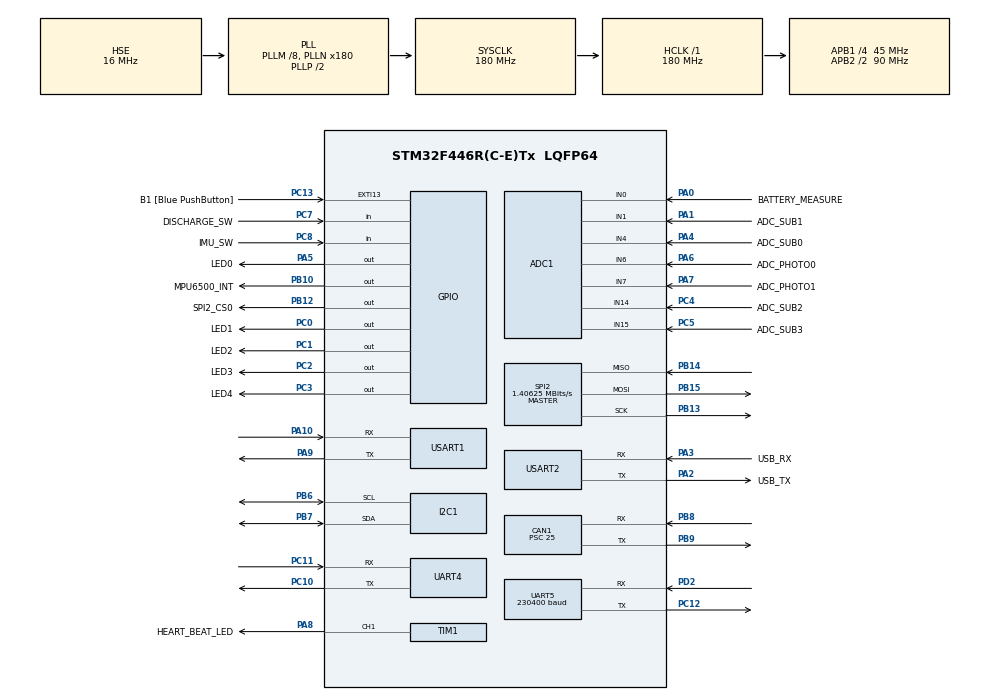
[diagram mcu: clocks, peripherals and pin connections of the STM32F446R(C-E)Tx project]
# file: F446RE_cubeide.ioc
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ADC1.Channel-0\#ChannelRegularConversion=ADC_CHANNEL_0
ADC1.NbrOfConversionFlag=1
ADC1.Rank-0\#ChannelRegularConversion=1
ADC1.SamplingTime-0\#ChannelRegularConversion=ADC_SAMPLETIME_3CYCLES
ADC1.master=1
CAN1.BS1=CAN_BS1_15TQ
CAN1.BS2=CAN_BS2_2TQ
CAN1.CalculateBaudRate=100000
CAN1.CalculateTimeBit=10000
CAN1.CalculateTimeQuantum=555.5555555555555
CAN1.Prescaler=25
CAN1.TTCM=ENABLE
CAN1.TXFP=ENABLE
Dma.Request0=USART1_RX
Dma.Request1=USART1_TX
Dma.Request2=UART5_RX
Dma.Request3=UART4_RX
Dma.Request4=UART4_TX
Dma.Request5=UART5_TX
Dma.UART4_RX.3.Direction=DMA_PERIPH_TO_MEMORY
Dma.UART4_RX.3.FIFOMode=DMA_FIFOMODE_DISABLE
Dma.UART4_RX.3.Instance=DMA1_Stream2
Dma.UART4_RX.3.MemDataAlignment=DMA_MDATAALIGN_BYTE
Dma.UART4_RX.3.MemInc=DMA_MINC_ENABLE
Dma.UART4_RX.3.Mode=DMA_CIRCULAR
Dma.UART4_RX.3.PeriphDataAlignment=DMA_PDATAALIGN_BYTE
Dma.UART4_RX.3.PeriphInc=DMA_PINC_DISABLE
Dma.UART4_RX.3.Priority=DMA_PRIORITY_LOW
Dma.UART4_TX.4.Direction=DMA_MEMORY_TO_PERIPH
Dma.UART4_TX.4.FIFOMode=DMA_FIFOMODE_DISABLE
Dma.UART4_TX.4.Instance=DMA1_Stream4
Dma.UART4_TX.4.MemDataAlignment=DMA_MDATAALIGN_BYTE
Dma.UART4_TX.4.MemInc=DMA_MINC_ENABLE
Dma.UART4_TX.4.Mode=DMA_NORMAL
Dma.UART4_TX.4.PeriphDataAlignment=DMA_PDATAALIGN_BYTE
Dma.UART4_TX.4.PeriphInc=DMA_PINC_DISABLE
Dma.UART4_TX.4.Priority=DMA_PRIORITY_LOW
Dma.UART5_RX.2.Direction=DMA_PERIPH_TO_MEMORY
Dma.UART5_RX.2.FIFOMode=DMA_FIFOMODE_DISABLE
Dma.UART5_RX.2.Instance=DMA1_Stream0
Dma.UART5_RX.2.MemDataAlignment=DMA_MDATAALIGN_BYTE
Dma.UART5_RX.2.MemInc=DMA_MINC_ENABLE
Dma.UART5_RX.2.Mode=DMA_CIRCULAR
Dma.UART5_RX.2.PeriphDataAlignment=DMA_PDATAALIGN_BYTE
Dma.UART5_RX.2.PeriphInc=DMA_PINC_DISABLE
Dma.UART5_RX.2.Priority=DMA_PRIORITY_LOW
Dma.UART5_TX.5.Direction=DMA_MEMORY_TO_PERIPH
Dma.UART5_TX.5.FIFOMode=DMA_FIFOMODE_DISABLE
Dma.UART5_TX.5.Instance=DMA1_Stream7
Dma.UART5_TX.5.MemDataAlignment=DMA_MDATAALIGN_BYTE
Dma.UART5_TX.5.MemInc=DMA_MINC_ENABLE
Dma.UART5_TX.5.Mode=DMA_NORMAL
Dma.UART5_TX.5.PeriphDataAlignment=DMA_PDATAALIGN_BYTE
Dma.UART5_TX.5.PeriphInc=DMA_PINC_DISABLE
Dma.UART5_TX.5.Priority=DMA_PRIORITY_LOW
Dma.USART1_RX.0.Direction=DMA_PERIPH_TO_MEMORY
Dma.USART1_RX.0.FIFOMode=DMA_FIFOMODE_DISABLE
Dma.USART1_RX.0.Instance=DMA2_Stream2
Dma.USART1_RX.0.MemDataAlignment=DMA_MDATAALIGN_BYTE
Dma.USART1_RX.0.MemInc=DMA_MINC_ENABLE
Dma.USART1_RX.0.Mode=DMA_CIRCULAR
Dma.USART1_RX.0.PeriphDataAlignment=DMA_PDATAALIGN_BYTE
Dma.USART1_RX.0.PeriphInc=DMA_PINC_DISABLE
Dma.USART1_RX.0.Priority=DMA_PRIORITY_LOW
Dma.USART1_TX.1.Direction=DMA_MEMORY_TO_PERIPH
Dma.USART1_TX.1.FIFOMode=DMA_FIFOMODE_DISABLE
Dma.USART1_TX.1.Instance=DMA2_Stream7
Dma.USART1_TX.1.MemDataAlignment=DMA_MDATAALIGN_BYTE
Dma.USART1_TX.1.MemInc=DMA_MINC_ENABLE
Dma.USART1_TX.1.Mode=DMA_NORMAL
Dma.USART1_TX.1.PeriphDataAlignment=DMA_PDATAALIGN_BYTE
Dma.USART1_TX.1.PeriphInc=DMA_PINC_DISABLE
Dma.USART1_TX.1.Priority=DMA_PRIORITY_LOW
I2C1.I2C_Mode=I2C_Standard
Mcu.Family=STM32F4
Mcu.Name=STM32F446R(C-E)Tx
Mcu.Package=LQFP64
NVIC.CAN1_RX0_IRQn=true\:0\:0\:true\:false\:true\:true\:true\:true
NVIC.CAN1_RX1_IRQn=true\:0\:0\:false\:false\:true\:true\:true\:true
NVIC.CAN1_TX_IRQn=true\:0\:0\:false\:false\:true\:true\:true\:true
NVIC.DMA1_Stream0_IRQn=true\:0\:0\:false\:false\:true\:false\:true\:true
NVIC.DMA1_Stream2_IRQn=true\:0\:0\:false\:false\:true\:false\:true\:true
NVIC.DMA1_Stream4_IRQn=true\:0\:0\:false\:false\:true\:false\:true\:true
NVIC.DMA1_Stream7_IRQn=true\:0\:0\:false\:false\:true\:false\:true\:true
NVIC.DMA2_Stream2_IRQn=true\:0\:0\:false\:false\:true\:false\:true\:true
NVIC.DMA2_Stream7_IRQn=true\:0\:0\:false\:false\:true\:false\:true\:true
NVIC.I2C1_ER_IRQn=true\:0\:0\:false\:false\:true\:true\:true\:true
NVIC.I2C1_EV_IRQn=true\:0\:0\:false\:false\:true\:true\:true\:true
NVIC.PriorityGroup=NVIC_PRIORITYGROUP_0
NVIC.SPI2_IRQn=true\:0\:0\:false\:false\:true\:true\:true\:true
NVIC.TIM1_UP_TIM10_IRQn=true\:0\:0\:false\:false\:true\:true\:true\:true
NVIC.TIM3_IRQn=true\:0\:0\:false\:false\:true\:true\:true\:true
NVIC.UART4_IRQn=true\:0\:0\:false\:false\:true\:true\:true\:true
NVIC.UART5_IRQn=true\:0\:0\:false\:false\:true\:true\:true\:true
NVIC.USART1_IRQn=true\:0\:0\:false\:false\:true\:true\:true\:true
NVIC.USART2_IRQn=true\:0\:0\:false\:false\:true\:true\:true\:true
PA0-WKUP.GPIO_Label=BATTERY_MEASURE
PA0-WKUP.Signal=ADCx_IN0
PA1.GPIO_Label=ADC_SUB1
PA1.Signal=ADCx_IN1
PA10.Mode=Asynchronous
PA10.Signal=USART1_RX
PA13.GPIO_Label=TMS
PA13.Mode=Serial_Wire
PA13.Signal=SYS_JTMS-SWDIO
PA14.GPIO_Label=TCK
PA14.Mode=Serial_Wire
PA14.Signal=SYS_JTCK-SWCLK
PA2.GPIO_Label=USB_TX
PA2.Mode=Asynchronous
PA2.Signal=USART2_TX
PA3.GPIO_Label=USB_RX
PA3.Mode=Asynchronous
PA3.Signal=USART2_RX
PA4.GPIO_Label=ADC_SUB0
PA4.Signal=ADCx_IN4
PA5.GPIO_Label=LED0
PA5.Signal=GPIO_Output
PA6.GPIO_Label=ADC_PHOTO0
PA6.Signal=ADCx_IN6
PA7.GPIO_Label=ADC_PHOTO1
PA7.Signal=ADCx_IN7
PA8.GPIO_Label=HEART_BEAT_LED
PA8.Signal=S_TIM1_CH1
PA9.Mode=Asynchronous
PA9.Signal=USART1_TX
PB10.GPIO_Label=MPU6500_INT
PB10.GPIO_PuPd=GPIO_PULLDOWN
PB10.Signal=GPIO_Output
PB12.GPIO_Label=SPI2_CS0
PB12.GPIO_Speed=GPIO_SPEED_FREQ_VERY_HIGH
PB12.Signal=GPIO_Output
PB13.Mode=Full_Duplex_Master
PB13.Signal=SPI2_SCK
PB14.Mode=Full_Duplex_Master
PB14.Signal=SPI2_MISO
PB15.Mode=Full_Duplex_Master
PB15.Signal=SPI2_MOSI
PB6.Mode=I2C
PB6.Signal=I2C1_SCL
PB7.Mode=I2C
PB7.Signal=I2C1_SDA
PB8.Mode=CAN_Activate
PB8.Signal=CAN1_RX
PB9.Mode=CAN_Activate
PB9.Signal=CAN1_TX
PC0.GPIO_Label=LED1
PC0.Signal=GPIO_Output
PC1.GPIO_Label=LED2
PC1.Signal=GPIO_Output
PC10.Mode=Asynchronous
PC10.Signal=UART4_TX
PC11.GPIO_PuPd=GPIO_PULLUP
PC11.Mode=Asynchronous
PC11.Signal=UART4_RX
PC12.Mode=Asynchronous
PC12.Signal=UART5_TX
PC13.GPIO_Label=B1 [Blue PushButton]
PC13.GPIO_ModeDefaultEXTI=GPIO_MODE_IT_FALLING
PC13.Signal=GPXTI13
PC2.GPIO_Label=LED3
PC2.Signal=GPIO_Output
PC3.GPIO_Label=LED4
PC3.Signal=GPIO_Output
PC4.GPIO_Label=ADC_SUB2
PC4.Signal=ADCx_IN14
PC5.GPIO_Label=ADC_SUB3
PC5.Signal=ADCx_IN15
PC7.GPIO_Label=DISCHARGE_SW
PC7.GPIO_PuPd=GPIO_PULLUP
PC7.Signal=GPIO_Input
PC8.GPIO_Label=IMU_SW
PC8.GPIO_PuPd=GPIO_PULLUP
PC8.Signal=GPIO_Input
PD2.GPIO_PuPd=GPIO_PULLUP
PD2.Mode=Asynchronous
PD2.Signal=UART5_RX
PH0-OSC_IN.Mode=HSE-External-Oscillator
PH0-OSC_IN.Signal=RCC_OSC_IN
PH1-OSC_OUT.Mode=HSE-External-Oscillator
PH1-OSC_OUT.Signal=RCC_OSC_OUT
ProjectManager.HeapSize=0x200
ProjectManager.StackSize=0x400
ProjectManager.TargetToolchain=Makefile
RCC.48MHZClocksFreq_Value=84000000
RCC.AHBFreq_Value=180000000
RCC.APB1CLKDivider=RCC_HCLK_DIV4
RCC.APB1Freq_Value=45000000
RCC.APB1TimFreq_Value=90000000
RCC.APB2CLKDivider=RCC_HCLK_DIV2
RCC.APB2Freq_Value=90000000
RCC.APB2TimFreq_Value=180000000
RCC.CortexFreq_Value=180000000
RCC.FLatency-AdvancedSettings=FLASH_LATENCY_5
RCC.HCLKFreq_Value=180000000
RCC.HSE_VALUE=16000000
RCC.HSI_VALUE=16000000
RCC.PLLM=8
RCC.PLLN=180
RCC.PLLSourceVirtual=RCC_PLLSOURCE_HSE
RCC.SYSCLKFreq_VALUE=180000000
RCC.SYSCLKSource=RCC_SYSCLKSOURCE_PLLCLK
RCC.USBFreq_Value=180000000
RCC.VCOOutputFreq_Value=360000000
SH.ADCx_IN0.0=ADC1_IN0,IN0
SH.ADCx_IN1.0=ADC1_IN1,IN1
SH.ADCx_IN14.0=ADC1_IN14,IN14
SH.ADCx_IN15.0=ADC1_IN15,IN15
SH.ADCx_IN4.0=ADC1_IN4,IN4
SH.ADCx_IN6.0=ADC1_IN6,IN6
SH.ADCx_IN7.0=ADC1_IN7,IN7
SH.S_TIM1_CH1.0=TIM1_CH1,PWM Generation1 CH1
SPI2.BaudRatePrescaler=SPI_BAUDRATEPRESCALER_32
SPI2.CLKPhase=SPI_PHASE_2EDGE
SPI2.CLKPolarity=SPI_POLARITY_HIGH
SPI2.CalculateBaudRate=1.40625 MBits/s
SPI2.Direction=SPI_DIRECTION_2LINES
SPI2.Mode=SPI_MODE_MASTER
SPI2.VirtualType=VM_MASTER
TIM1.Channel-PWM\ Generation1\ CH1=TIM_CHANNEL_1
TIM1.Period=999
TIM1.Prescaler=179
TIM10.Period=999
TIM10.Prescaler=179
TIM3.Period=999
TIM3.Prescaler=44
UART4.VirtualMode=Asynchronous
UART5.BaudRate=230400
UART5.VirtualMode=Asynchronous
USART1.VirtualMode=VM_ASYNC
USART2.VirtualMode=VM_ASYNC
VP_TIM10_VS_ClockSourceINT.Mode=Enable_Timer
VP_TIM3_VS_ClockSourceINT.Mode=Internal
VP_TIM4_VS_ClockSourceINT.Mode=Internal
VP_TIM8_VS_ClockSourceINT.Mode=Internal
board=NUCLEO-F446RE

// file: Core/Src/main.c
/* USER CODE BEGIN Header */
/**
 ******************************************************************************
 * @file           : main.c
 * @brief          : Main program body
 ******************************************************************************
 * @attention
 *
 * Copyright (c) 2024 STMicroelectronics.
 * All rights reserved.
 *
 * This software is licensed under terms that can be found in the LICENSE file
 * in the root directory of this software component.
 * If no LICENSE file comes with this software, it is provided AS-IS.
 *
 ******************************************************************************
 */
/* USER CODE END Header */
#include "main.h"
#include "adc.h"
#include "can.h"
#include "dma.h"
#include "i2c.h"
#include "spi.h"
#include "tim.h"
#include "usart.h"
#include "gpio.h"

/* USER CODE BEGIN Includes */
#include "BufferedSerial.hpp"
/* USER CODE END Includes */

void SystemClock_Config(void);

/* USER CODE BEGIN 0 */
int _write(int file, char *ptr, int len) {
    // HAL_UART_Transmit(&huart2, (uint8_t *)ptr, len, 10);
    // huart1はDMA受信中なのでHAL_UART_Transmitは使わない (BufferedSerial.cppのuartTransmitBlocking参照)
    uartTransmitBlocking(&huart1, (const uint8_t *)ptr, len, 10);
    return len;
}

void __io_putchar(uint8_t ch) {
    // HAL_UART_Transmit(&huart1, &ch, 1, 0xFFFFFFFF);
    uartTransmitBlocking(&huart1, &ch, 1, 0xFFFFFFFF);
}

int __io_getchar(void) {
    uint8_t rxBuf;
    while (HAL_UART_Receive(&huart1, &rxBuf, 1, 0xFFFFFFFF) != HAL_OK)
        ;
    return (rxBuf);
}

void HAL_TIM_PeriodElapsedCallback(TIM_HandleTypeDef *htim) {
    if (htim == &htim10) {

        TimInterrupt1khz();
    } else if (htim == &htim3) {
        // 4KHz
        TimInterrupt4khz();
    } else {
        // pass
    }
}

/* USER CODE END 0 */

int main(void)
{

  /* MCU Configuration--------------------------------------------------------*/

  /* Reset of all peripherals, Initializes the Flash interface and the Systick. */
  HAL_Init();

  /* Configure the system clock */
  SystemClock_Config();

  /* Initialize all configured peripherals */
  MX_GPIO_Init();
  MX_DMA_Init();
  MX_USART2_UART_Init();
  MX_CAN1_Init();
  MX_ADC1_Init();
  MX_I2C1_Init();
  MX_UART4_Init();
  MX_UART5_Init();
  MX_USART1_UART_Init();
  MX_TIM1_Init();
  MX_TIM3_Init();
  MX_TIM4_Init();
  MX_TIM8_Init();
  MX_TIM10_Init();
  MX_SPI2_Init();

  /* Infinite loop */
  /* USER CODE BEGIN WHILE */
    setup();
    HAL_TIM_Base_Start_IT(&htim10); // ハ�??��トビート用タイマ�??��割り込みスター?��?
    // HAL_TIM_Base_Start_IT(&htim3);  // 4KHz (TimInterrupt4khzが空なので止めている。MPU6500を使うときに戻す)
    main_app();
    while (1) {
    /* USER CODE END WHILE */

    }
}

void SystemClock_Config(void)
{
  RCC_OscInitTypeDef RCC_OscInitStruct = {0};
  RCC_ClkInitTypeDef RCC_ClkInitStruct = {0};

  /** Configure the main internal regulator output voltage
  */
  __HAL_RCC_PWR_CLK_ENABLE();
  __HAL_PWR_VOLTAGESCALING_CONFIG(PWR_REGULATOR_VOLTAGE_SCALE1);

  /** Initializes the RCC Oscillators according to the specified parameters
  * in the RCC_OscInitTypeDef structure.
  */
  RCC_OscInitStruct.OscillatorType = RCC_OSCILLATORTYPE_HSE;
  RCC_OscInitStruct.HSEState = RCC_HSE_ON;
  RCC_OscInitStruct.PLL.PLLState = RCC_PLL_ON;
  RCC_OscInitStruct.PLL.PLLSource = RCC_PLLSOURCE_HSE;
  RCC_OscInitStruct.PLL.PLLM = 8;
  RCC_OscInitStruct.PLL.PLLN = 180;
  RCC_OscInitStruct.PLL.PLLP = RCC_PLLP_DIV2;
  RCC_OscInitStruct.PLL.PLLQ = 2;
  RCC_OscInitStruct.PLL.PLLR = 2;
  if (HAL_RCC_OscConfig(&RCC_OscInitStruct) != HAL_OK)
  {
    Error_Handler();
  }

  /** Activate the Over-Drive mode
  */
  if (HAL_PWREx_EnableOverDrive() != HAL_OK)
  {
    Error_Handler();
  }

  /** Initializes the CPU, AHB and APB buses clocks
  */
  RCC_ClkInitStruct.ClockType = RCC_CLOCKTYPE_HCLK|RCC_CLOCKTYPE_SYSCLK
                              |RCC_CLOCKTYPE_PCLK1|RCC_CLOCKTYPE_PCLK2;
  RCC_ClkInitStruct.SYSCLKSource = RCC_SYSCLKSOURCE_PLLCLK;
  RCC_ClkInitStruct.AHBCLKDivider = RCC_SYSCLK_DIV1;
  RCC_ClkInitStruct.APB1CLKDivider = RCC_HCLK_DIV4;
  RCC_ClkInitStruct.APB2CLKDivider = RCC_HCLK_DIV2;

  if (HAL_RCC_ClockConfig(&RCC_ClkInitStruct, FLASH_LATENCY_5) != HAL_OK)
  {
    Error_Handler();
  }
}

void Error_Handler(void)
{
  /* USER CODE BEGIN Error_Handler_Debug */
    /* User can add his own implementation to report the HAL error return state */
    __disable_irq();
    while (1) {
        HAL_GPIO_TogglePin(LED0_GPIO_Port, LED0_Pin);
        HAL_Delay(100);
    }
  /* USER CODE END Error_Handler_Debug */
}
